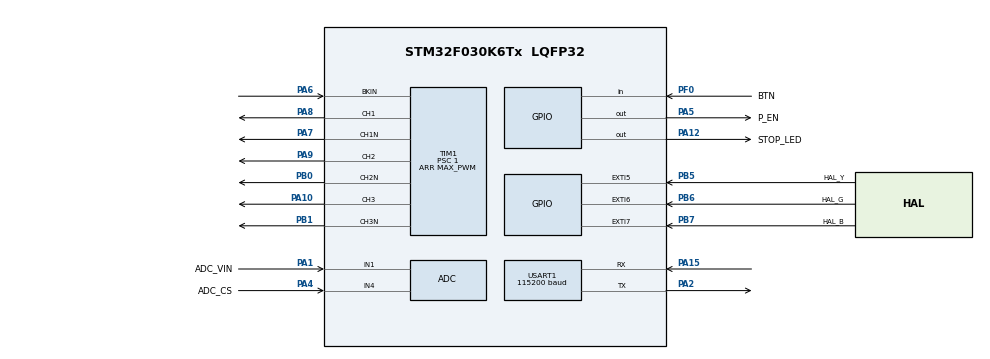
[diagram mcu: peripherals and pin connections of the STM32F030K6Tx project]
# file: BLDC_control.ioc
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ADC.ContinuousConvMode=ENABLE
ADC.DMAContinuousRequests=ENABLE
ADC.DiscontinuousConvMode=DISABLE
ADC.EOCSelection=ADC_EOC_SEQ_CONV
ADC.ExternalTrigConv=ADC_EXTERNALTRIGCONV_T1_TRGO
ADC.ExternalTrigConvEdge=ADC_EXTERNALTRIGCONVEDGE_RISINGFALLING
ADC.SamplingTime=ADC_SAMPLETIME_41CYCLES_5
Dma.ADC.0.Direction=DMA_PERIPH_TO_MEMORY
Dma.ADC.0.Instance=DMA1_Channel1
Dma.ADC.0.MemDataAlignment=DMA_MDATAALIGN_HALFWORD
Dma.ADC.0.MemInc=DMA_MINC_ENABLE
Dma.ADC.0.Mode=DMA_CIRCULAR
Dma.ADC.0.PeriphDataAlignment=DMA_PDATAALIGN_HALFWORD
Dma.ADC.0.PeriphInc=DMA_PINC_DISABLE
Dma.ADC.0.Priority=DMA_PRIORITY_LOW
Dma.Request0=ADC
Dma.Request1=USART1_TX
Dma.USART1_TX.1.Direction=DMA_MEMORY_TO_PERIPH
Dma.USART1_TX.1.Instance=DMA1_Channel2
Dma.USART1_TX.1.MemDataAlignment=DMA_MDATAALIGN_BYTE
Dma.USART1_TX.1.MemInc=DMA_MINC_ENABLE
Dma.USART1_TX.1.Mode=DMA_NORMAL
Dma.USART1_TX.1.PeriphDataAlignment=DMA_PDATAALIGN_BYTE
Dma.USART1_TX.1.PeriphInc=DMA_PINC_DISABLE
Dma.USART1_TX.1.Priority=DMA_PRIORITY_LOW
Mcu.Family=STM32F0
Mcu.Name=STM32F030K6Tx
Mcu.Package=LQFP32
Mcu.UserConstants=MAX_PWM,512
NVIC.DMA1_Channel1_IRQn=true\:0\:0\:false\:false\:true\:false\:true\:true
NVIC.DMA1_Channel2_3_IRQn=true\:0\:0\:false\:false\:true\:false\:true\:true
NVIC.EXTI4_15_IRQn=true\:0\:0\:false\:false\:true\:true\:true\:true
NVIC.TIM1_BRK_UP_TRG_COM_IRQn=true\:0\:0\:false\:false\:true\:true\:true\:true
NVIC.TIM1_CC_IRQn=true\:0\:0\:false\:false\:true\:true\:true\:true
NVIC.USART1_IRQn=true\:1\:0\:true\:false\:true\:true\:true\:true
PA1.GPIO_Label=ADC_VIN
PA1.Mode=IN1
PA1.Signal=ADC_IN1
PA10.Signal=S_TIM1_CH3
PA12.GPIO_Label=STOP_LED
PA12.Signal=GPIO_Output
PA13.Mode=Serial_Wire
PA13.Signal=SYS_SWDIO
PA14.Mode=Serial_Wire
PA14.Signal=SYS_SWCLK
PA15.Mode=Asynchronous
PA15.Signal=USART1_RX
PA2.Mode=Asynchronous
PA2.Signal=USART1_TX
PA4.GPIO_Label=ADC_CS
PA4.Mode=IN4
PA4.Signal=ADC_IN4
PA5.GPIO_Label=P_EN
PA5.Signal=GPIO_Output
PA6.Mode=Activate-Break-Input
PA6.Signal=TIM1_BKIN
PA7.Mode=PWM Generation1 CH1 CH1N
PA7.Signal=TIM1_CH1N
PA8.Signal=S_TIM1_CH1
PA9.Signal=S_TIM1_CH2
PB0.Mode=PWM Generation2 CH2 CH2N
PB0.Signal=TIM1_CH2N
PB1.Mode=PWM Generation3 CH3 CH3N
PB1.Signal=TIM1_CH3N
PB5.GPIO_Label=HAL_Y
PB5.GPIO_ModeDefaultEXTI=GPIO_MODE_IT_RISING_FALLING
PB5.Signal=GPXTI5
PB6.GPIO_Label=HAL_G
PB6.GPIO_ModeDefaultEXTI=GPIO_MODE_IT_RISING_FALLING
PB6.Signal=GPXTI6
PB7.GPIO_Label=HAL_B
PB7.GPIO_ModeDefaultEXTI=GPIO_MODE_IT_RISING_FALLING
PB7.Signal=GPXTI7
PF0-OSC_IN.GPIO_Label=BTN
PF0-OSC_IN.Signal=GPIO_Input
ProjectManager.HeapSize=0x200
ProjectManager.StackSize=0x400
ProjectManager.TargetToolchain=MDK-ARM V5.32
RCC.AHBFreq_Value=48000000
RCC.APB1Freq_Value=48000000
RCC.APB1TimFreq_Value=48000000
RCC.HCLKFreq_Value=48000000
RCC.PLLMUL=RCC_PLL_MUL12
RCC.SYSCLKFreq_VALUE=48000000
RCC.SYSCLKSource=RCC_SYSCLKSOURCE_PLLCLK
SH.S_TIM1_CH1.0=TIM1_CH1,PWM Generation1 CH1 CH1N
SH.S_TIM1_CH2.0=TIM1_CH2,PWM Generation2 CH2 CH2N
SH.S_TIM1_CH3.0=TIM1_CH3,PWM Generation3 CH3 CH3N
TIM1.AutomaticOutput=TIM_AUTOMATICOUTPUT_DISABLE
TIM1.BreakPolarity=TIM_BREAKPOLARITY_LOW
TIM1.Channel-Output\ Compare4\ No\ Output=TIM_CHANNEL_4
TIM1.Channel-PWM\ Generation1\ CH1\ CH1N=TIM_CHANNEL_1
TIM1.Channel-PWM\ Generation2\ CH2\ CH2N=TIM_CHANNEL_2
TIM1.Channel-PWM\ Generation3\ CH3\ CH3N=TIM_CHANNEL_3
TIM1.CounterMode=TIM_COUNTERMODE_CENTERALIGNED1
TIM1.DeadTime=0x10
TIM1.OCIdleState_1=TIM_OCIDLESTATE_SET
TIM1.OCIdleState_2=TIM_OCIDLESTATE_SET
TIM1.OCIdleState_3=TIM_OCIDLESTATE_SET
TIM1.OCMode_4=TIM_OCMODE_TOGGLE
TIM1.OCMode_PWM-PWM\ Generation1\ CH1\ CH1N=TIM_OCMODE_PWM1
TIM1.OCMode_PWM-PWM\ Generation2\ CH2\ CH2N=TIM_OCMODE_PWM1
TIM1.OCMode_PWM-PWM\ Generation3\ CH3\ CH3N=TIM_OCMODE_PWM1
TIM1.OCNIdleState_1=TIM_OCNIDLESTATE_SET
TIM1.OCNIdleState_2=TIM_OCNIDLESTATE_SET
TIM1.OCNIdleState_3=TIM_OCNIDLESTATE_SET
TIM1.OCNPolarity_1=TIM_OCNPOLARITY_LOW
TIM1.OCNPolarity_2=TIM_OCNPOLARITY_LOW
TIM1.OCNPolarity_3=TIM_OCNPOLARITY_LOW
TIM1.OCPolarity_1=TIM_OCPOLARITY_LOW
TIM1.OCPolarity_2=TIM_OCPOLARITY_LOW
TIM1.OCPolarity_3=TIM_OCPOLARITY_LOW
TIM1.Period=MAX_PWM
TIM1.Prescaler=1
TIM1.Pulse-Output\ Compare4\ No\ Output=1
TIM1.TIM_MasterOutputTrigger=TIM_TRGO_OC4REF
TIM1.TIM_MasterSlaveMode=TIM_MASTERSLAVEMODE_DISABLE
USART1.BaudRate=115200
USART1.TxPinLevelInvertParam=ADVFEATURE_TXINV_ENABLE
USART1.VirtualMode-Asynchronous=VM_ASYNC
VP_TIM1_VS_ClockSourceINT.Mode=Internal
VP_TIM1_VS_no_output4.Mode=Output Compare4 No Output
board=custom

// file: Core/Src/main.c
/* USER CODE BEGIN Header */
/**
 ******************************************************************************
 * @file           : main.c
 * @brief          : Main program body
 ******************************************************************************
 * @attention
 *
 * Copyright (c) 2024 STMicroelectronics.
 * All rights reserved.
 *
 * This software is licensed under terms that can be found in the LICENSE file
 * in the root directory of this software component.
 * If no LICENSE file comes with this software, it is provided AS-IS.
 *
 ******************************************************************************
 */
/* USER CODE END Header */
#include "main.h"

/* USER CODE BEGIN PV */

// BLDC DATA

/* USER CODE END PV */

void SystemClock_Config(void);
static void MX_GPIO_Init(void);
static void MX_DMA_Init(void);
static void MX_TIM1_Init(void);
static void MX_USART1_UART_Init(void);
static void MX_ADC_Init(void);

int main(void)
{

  /* MCU Configuration--------------------------------------------------------*/

  /* Reset of all peripherals, Initializes the Flash interface and the Systick. */
  LL_APB1_GRP2_EnableClock(LL_APB1_GRP2_PERIPH_SYSCFG);
  LL_APB1_GRP1_EnableClock(LL_APB1_GRP1_PERIPH_PWR);

  /* SysTick_IRQn interrupt configuration */
  NVIC_SetPriority(SysTick_IRQn, 3);

  /* Configure the system clock */
  SystemClock_Config();

  /* USER CODE BEGIN SysInit */
  LL_SYSTICK_EnableIT();
  /* USER CODE END SysInit */

  /* Initialize all configured peripherals */
  MX_GPIO_Init();
  MX_DMA_Init();
  MX_TIM1_Init();
  MX_USART1_UART_Init();
  MX_ADC_Init();
  /* USER CODE BEGIN 2 */

  LL_USART_Enable(USART1);
  LL_USART_EnableIT_RXNE(USART1);
  LL_USART_EnableDMAReq_TX(USART1);

  LL_TIM_EnableIT_CC4(TIM1);

  LL_TIM_EnableAllOutputs(TIM1);
  LL_TIM_EnableCounter(TIM1);

  LL_DMA_ConfigTransfer(DMA1,
                        LL_DMA_CHANNEL_1,
                        LL_DMA_DIRECTION_PERIPH_TO_MEMORY |
                            LL_DMA_MODE_CIRCULAR |
                            LL_DMA_PERIPH_NOINCREMENT |
                            LL_DMA_MEMORY_INCREMENT |
                            LL_DMA_PDATAALIGN_HALFWORD |
                            LL_DMA_MDATAALIGN_HALFWORD |
                            LL_DMA_PRIORITY_HIGH);

  extern uint16_t adc_data[80];
  LL_DMA_ConfigAddresses(DMA1,
                         LL_DMA_CHANNEL_1,
                         LL_ADC_DMA_GetRegAddr(ADC1, LL_ADC_DMA_REG_REGULAR_DATA),
                         (uint32_t)adc_data,
                         LL_DMA_DIRECTION_PERIPH_TO_MEMORY);

  LL_DMA_SetDataLength(DMA1, LL_DMA_CHANNEL_1, sizeof(adc_data) / sizeof(adc_data[0]));
  LL_DMA_EnableChannel(DMA1, LL_DMA_CHANNEL_1);

  LL_ADC_Enable(ADC1);
  LL_ADC_REG_StartConversion(ADC1);

  extern void my_main(void);
  my_main();

  /* USER CODE END 2 */

  /* Infinite loop */
  /* USER CODE BEGIN WHILE */
  while (1)
  {
    // do_break(power);
    /* USER CODE END WHILE */

  }
}

void SystemClock_Config(void)
{
  LL_FLASH_SetLatency(LL_FLASH_LATENCY_1);
  while(LL_FLASH_GetLatency() != LL_FLASH_LATENCY_1)
  {
  }
  LL_RCC_HSI_Enable();

   /* Wait till HSI is ready */
  while(LL_RCC_HSI_IsReady() != 1)
  {

  }
  LL_RCC_HSI_SetCalibTrimming(16);
  LL_RCC_HSI14_Enable();

   /* Wait till HSI14 is ready */
  while(LL_RCC_HSI14_IsReady() != 1)
  {

  }
  LL_RCC_HSI14_SetCalibTrimming(16);
  LL_RCC_PLL_ConfigDomain_SYS(LL_RCC_PLLSOURCE_HSI_DIV_2, LL_RCC_PLL_MUL_12);
  LL_RCC_PLL_Enable();

   /* Wait till PLL is ready */
  while(LL_RCC_PLL_IsReady() != 1)
  {

  }
  LL_RCC_SetAHBPrescaler(LL_RCC_SYSCLK_DIV_1);
  LL_RCC_SetAPB1Prescaler(LL_RCC_APB1_DIV_1);
  LL_RCC_SetSysClkSource(LL_RCC_SYS_CLKSOURCE_PLL);

   /* Wait till System clock is ready */
  while(LL_RCC_GetSysClkSource() != LL_RCC_SYS_CLKSOURCE_STATUS_PLL)
  {

  }
  LL_Init1msTick(48000000);
  LL_SetSystemCoreClock(48000000);
  LL_RCC_HSI14_EnableADCControl();
  LL_RCC_SetUSARTClockSource(LL_RCC_USART1_CLKSOURCE_PCLK1);
}

static void MX_ADC_Init(void)
{

  LL_ADC_InitTypeDef ADC_InitStruct = {0};
  LL_ADC_REG_InitTypeDef ADC_REG_InitStruct = {0};

  LL_GPIO_InitTypeDef GPIO_InitStruct = {0};

  /* Peripheral clock enable */
  LL_APB1_GRP2_EnableClock(LL_APB1_GRP2_PERIPH_ADC1);

  LL_AHB1_GRP1_EnableClock(LL_AHB1_GRP1_PERIPH_GPIOA);
  /**ADC GPIO Configuration
  PA1   ------> ADC_IN1
  PA4   ------> ADC_IN4
  */
  GPIO_InitStruct.Pin = ADC_VIN_Pin;
  GPIO_InitStruct.Mode = LL_GPIO_MODE_ANALOG;
  GPIO_InitStruct.Pull = LL_GPIO_PULL_NO;
  LL_GPIO_Init(ADC_VIN_GPIO_Port, &GPIO_InitStruct);

  GPIO_InitStruct.Pin = ADC_CS_Pin;
  GPIO_InitStruct.Mode = LL_GPIO_MODE_ANALOG;
  GPIO_InitStruct.Pull = LL_GPIO_PULL_NO;
  LL_GPIO_Init(ADC_CS_GPIO_Port, &GPIO_InitStruct);

  /* ADC DMA Init */

  /* ADC Init */
  LL_DMA_SetDataTransferDirection(DMA1, LL_DMA_CHANNEL_1, LL_DMA_DIRECTION_PERIPH_TO_MEMORY);

  LL_DMA_SetChannelPriorityLevel(DMA1, LL_DMA_CHANNEL_1, LL_DMA_PRIORITY_LOW);

  LL_DMA_SetMode(DMA1, LL_DMA_CHANNEL_1, LL_DMA_MODE_CIRCULAR);

  LL_DMA_SetPeriphIncMode(DMA1, LL_DMA_CHANNEL_1, LL_DMA_PERIPH_NOINCREMENT);

  LL_DMA_SetMemoryIncMode(DMA1, LL_DMA_CHANNEL_1, LL_DMA_MEMORY_INCREMENT);

  LL_DMA_SetPeriphSize(DMA1, LL_DMA_CHANNEL_1, LL_DMA_PDATAALIGN_HALFWORD);

  LL_DMA_SetMemorySize(DMA1, LL_DMA_CHANNEL_1, LL_DMA_MDATAALIGN_HALFWORD);

  /** Configure Regular Channel
  */
  LL_ADC_REG_SetSequencerChAdd(ADC1, LL_ADC_CHANNEL_1);

  /** Configure Regular Channel
  */
  LL_ADC_REG_SetSequencerChAdd(ADC1, LL_ADC_CHANNEL_4);

  /** Configure the global features of the ADC (Clock, Resolution, Data Alignment and number of conversion)
  */
  ADC_InitStruct.Clock = LL_ADC_CLOCK_ASYNC;
  ADC_InitStruct.Resolution = LL_ADC_RESOLUTION_12B;
  ADC_InitStruct.DataAlignment = LL_ADC_DATA_ALIGN_RIGHT;
  ADC_InitStruct.LowPowerMode = LL_ADC_LP_MODE_NONE;
  LL_ADC_Init(ADC1, &ADC_InitStruct);
  ADC_REG_InitStruct.TriggerSource = LL_ADC_REG_TRIG_EXT_TIM1_TRGO;
  ADC_REG_InitStruct.SequencerDiscont = LL_ADC_REG_SEQ_DISCONT_DISABLE;
  ADC_REG_InitStruct.ContinuousMode = LL_ADC_REG_CONV_CONTINUOUS;
  ADC_REG_InitStruct.DMATransfer = LL_ADC_REG_DMA_TRANSFER_UNLIMITED;
  ADC_REG_InitStruct.Overrun = LL_ADC_REG_OVR_DATA_PRESERVED;
  LL_ADC_REG_Init(ADC1, &ADC_REG_InitStruct);
  LL_ADC_REG_SetSequencerScanDirection(ADC1, LL_ADC_REG_SEQ_SCAN_DIR_FORWARD);
  LL_ADC_SetSamplingTimeCommonChannels(ADC1, LL_ADC_SAMPLINGTIME_41CYCLES_5);
  LL_ADC_REG_SetTriggerEdge(ADC1, LL_ADC_REG_TRIG_EXT_RISINGFALLING);

}

static void MX_TIM1_Init(void)
{

  LL_TIM_InitTypeDef TIM_InitStruct = {0};
  LL_TIM_OC_InitTypeDef TIM_OC_InitStruct = {0};
  LL_TIM_BDTR_InitTypeDef TIM_BDTRInitStruct = {0};

  LL_GPIO_InitTypeDef GPIO_InitStruct = {0};

  /* Peripheral clock enable */
  LL_APB1_GRP2_EnableClock(LL_APB1_GRP2_PERIPH_TIM1);

  LL_AHB1_GRP1_EnableClock(LL_AHB1_GRP1_PERIPH_GPIOA);
  /**TIM1 GPIO Configuration
  PA6   ------> TIM1_BKIN
  */
  GPIO_InitStruct.Pin = LL_GPIO_PIN_6;
  GPIO_InitStruct.Mode = LL_GPIO_MODE_ALTERNATE;
  GPIO_InitStruct.Speed = LL_GPIO_SPEED_FREQ_LOW;
  GPIO_InitStruct.OutputType = LL_GPIO_OUTPUT_PUSHPULL;
  GPIO_InitStruct.Pull = LL_GPIO_PULL_NO;
  GPIO_InitStruct.Alternate = LL_GPIO_AF_2;
  LL_GPIO_Init(GPIOA, &GPIO_InitStruct);

  /* TIM1 interrupt Init */
  NVIC_SetPriority(TIM1_BRK_UP_TRG_COM_IRQn, 0);
  NVIC_EnableIRQ(TIM1_BRK_UP_TRG_COM_IRQn);
  NVIC_SetPriority(TIM1_CC_IRQn, 0);
  NVIC_EnableIRQ(TIM1_CC_IRQn);

  TIM_InitStruct.Prescaler = 1;
  TIM_InitStruct.CounterMode = LL_TIM_COUNTERMODE_CENTER_DOWN;
  TIM_InitStruct.Autoreload = MAX_PWM;
  TIM_InitStruct.ClockDivision = LL_TIM_CLOCKDIVISION_DIV1;
  TIM_InitStruct.RepetitionCounter = 0;
  LL_TIM_Init(TIM1, &TIM_InitStruct);
  LL_TIM_DisableARRPreload(TIM1);
  LL_TIM_SetClockSource(TIM1, LL_TIM_CLOCKSOURCE_INTERNAL);
  LL_TIM_OC_EnablePreload(TIM1, LL_TIM_CHANNEL_CH1);
  TIM_OC_InitStruct.OCMode = LL_TIM_OCMODE_PWM1;
  TIM_OC_InitStruct.OCState = LL_TIM_OCSTATE_DISABLE;
  TIM_OC_InitStruct.OCNState = LL_TIM_OCSTATE_DISABLE;
  TIM_OC_InitStruct.CompareValue = 0;
  TIM_OC_InitStruct.OCPolarity = LL_TIM_OCPOLARITY_LOW;
  TIM_OC_InitStruct.OCNPolarity = LL_TIM_OCPOLARITY_LOW;
  TIM_OC_InitStruct.OCIdleState = LL_TIM_OCIDLESTATE_HIGH;
  TIM_OC_InitStruct.OCNIdleState = LL_TIM_OCIDLESTATE_HIGH;
  LL_TIM_OC_Init(TIM1, LL_TIM_CHANNEL_CH1, &TIM_OC_InitStruct);
  LL_TIM_OC_DisableFast(TIM1, LL_TIM_CHANNEL_CH1);
  LL_TIM_OC_EnablePreload(TIM1, LL_TIM_CHANNEL_CH2);
  LL_TIM_OC_Init(TIM1, LL_TIM_CHANNEL_CH2, &TIM_OC_InitStruct);
  LL_TIM_OC_DisableFast(TIM1, LL_TIM_CHANNEL_CH2);
  LL_TIM_OC_EnablePreload(TIM1, LL_TIM_CHANNEL_CH3);
  LL_TIM_OC_Init(TIM1, LL_TIM_CHANNEL_CH3, &TIM_OC_InitStruct);
  LL_TIM_OC_DisableFast(TIM1, LL_TIM_CHANNEL_CH3);
  TIM_OC_InitStruct.OCMode = LL_TIM_OCMODE_TOGGLE;
  TIM_OC_InitStruct.CompareValue = 1;
  TIM_OC_InitStruct.OCPolarity = LL_TIM_OCPOLARITY_HIGH;
  TIM_OC_InitStruct.OCIdleState = LL_TIM_OCIDLESTATE_LOW;
  TIM_OC_InitStruct.OCNIdleState = LL_TIM_OCIDLESTATE_LOW;
  LL_TIM_OC_Init(TIM1, LL_TIM_CHANNEL_CH4, &TIM_OC_InitStruct);
  LL_TIM_OC_DisableFast(TIM1, LL_TIM_CHANNEL_CH4);
  LL_TIM_SetTriggerOutput(TIM1, LL_TIM_TRGO_OC4REF);
  LL_TIM_DisableMasterSlaveMode(TIM1);
  TIM_BDTRInitStruct.OSSRState = LL_TIM_OSSR_DISABLE;
  TIM_BDTRInitStruct.OSSIState = LL_TIM_OSSI_DISABLE;
  TIM_BDTRInitStruct.LockLevel = LL_TIM_LOCKLEVEL_OFF;
  TIM_BDTRInitStruct.DeadTime = 0x10;
  TIM_BDTRInitStruct.BreakState = LL_TIM_BREAK_ENABLE;
  TIM_BDTRInitStruct.BreakPolarity = LL_TIM_BREAK_POLARITY_LOW;
  TIM_BDTRInitStruct.AutomaticOutput = LL_TIM_AUTOMATICOUTPUT_DISABLE;
  LL_TIM_BDTR_Init(TIM1, &TIM_BDTRInitStruct);
  LL_AHB1_GRP1_EnableClock(LL_AHB1_GRP1_PERIPH_GPIOA);
  LL_AHB1_GRP1_EnableClock(LL_AHB1_GRP1_PERIPH_GPIOB);
  /**TIM1 GPIO Configuration
  PA7   ------> TIM1_CH1N
  PB0   ------> TIM1_CH2N
  PB1   ------> TIM1_CH3N
  PA8   ------> TIM1_CH1
  PA9   ------> TIM1_CH2
  PA10   ------> TIM1_CH3
  */
  GPIO_InitStruct.Pin = LL_GPIO_PIN_7;
  GPIO_InitStruct.Mode = LL_GPIO_MODE_ALTERNATE;
  GPIO_InitStruct.Speed = LL_GPIO_SPEED_FREQ_LOW;
  GPIO_InitStruct.OutputType = LL_GPIO_OUTPUT_PUSHPULL;
  GPIO_InitStruct.Pull = LL_GPIO_PULL_NO;
  GPIO_InitStruct.Alternate = LL_GPIO_AF_2;
  LL_GPIO_Init(GPIOA, &GPIO_InitStruct);

  GPIO_InitStruct.Pin = LL_GPIO_PIN_0;
  GPIO_InitStruct.Mode = LL_GPIO_MODE_ALTERNATE;
  GPIO_InitStruct.Speed = LL_GPIO_SPEED_FREQ_LOW;
  GPIO_InitStruct.OutputType = LL_GPIO_OUTPUT_PUSHPULL;
  GPIO_InitStruct.Pull = LL_GPIO_PULL_NO;
  GPIO_InitStruct.Alternate = LL_GPIO_AF_2;
  LL_GPIO_Init(GPIOB, &GPIO_InitStruct);

  GPIO_InitStruct.Pin = LL_GPIO_PIN_1;
  GPIO_InitStruct.Mode = LL_GPIO_MODE_ALTERNATE;
  GPIO_InitStruct.Speed = LL_GPIO_SPEED_FREQ_LOW;
  GPIO_InitStruct.OutputType = LL_GPIO_OUTPUT_PUSHPULL;
  GPIO_InitStruct.Pull = LL_GPIO_PULL_NO;
  GPIO_InitStruct.Alternate = LL_GPIO_AF_2;
  LL_GPIO_Init(GPIOB, &GPIO_InitStruct);

  GPIO_InitStruct.Pin = LL_GPIO_PIN_8;
  GPIO_InitStruct.Mode = LL_GPIO_MODE_ALTERNATE;
  GPIO_InitStruct.Speed = LL_GPIO_SPEED_FREQ_LOW;
  GPIO_InitStruct.OutputType = LL_GPIO_OUTPUT_PUSHPULL;
  GPIO_InitStruct.Pull = LL_GPIO_PULL_NO;
  GPIO_InitStruct.Alternate = LL_GPIO_AF_2;
  LL_GPIO_Init(GPIOA, &GPIO_InitStruct);

  GPIO_InitStruct.Pin = LL_GPIO_PIN_9;
  GPIO_InitStruct.Mode = LL_GPIO_MODE_ALTERNATE;
  GPIO_InitStruct.Speed = LL_GPIO_SPEED_FREQ_LOW;
  GPIO_InitStruct.OutputType = LL_GPIO_OUTPUT_PUSHPULL;
  GPIO_InitStruct.Pull = LL_GPIO_PULL_NO;
  GPIO_InitStruct.Alternate = LL_GPIO_AF_2;
  LL_GPIO_Init(GPIOA, &GPIO_InitStruct);

  GPIO_InitStruct.Pin = LL_GPIO_PIN_10;
  GPIO_InitStruct.Mode = LL_GPIO_MODE_ALTERNATE;
  GPIO_InitStruct.Speed = LL_GPIO_SPEED_FREQ_LOW;
  GPIO_InitStruct.OutputType = LL_GPIO_OUTPUT_PUSHPULL;
  GPIO_InitStruct.Pull = LL_GPIO_PULL_NO;
  GPIO_InitStruct.Alternate = LL_GPIO_AF_2;
  LL_GPIO_Init(GPIOA, &GPIO_InitStruct);

}

static void MX_USART1_UART_Init(void)
{

  LL_USART_InitTypeDef USART_InitStruct = {0};

  LL_GPIO_InitTypeDef GPIO_InitStruct = {0};

  /* Peripheral clock enable */
  LL_APB1_GRP2_EnableClock(LL_APB1_GRP2_PERIPH_USART1);

  LL_AHB1_GRP1_EnableClock(LL_AHB1_GRP1_PERIPH_GPIOA);
  /**USART1 GPIO Configuration
  PA2   ------> USART1_TX
  PA15   ------> USART1_RX
  */
  GPIO_InitStruct.Pin = LL_GPIO_PIN_2;
  GPIO_InitStruct.Mode = LL_GPIO_MODE_ALTERNATE;
  GPIO_InitStruct.Speed = LL_GPIO_SPEED_FREQ_HIGH;
  GPIO_InitStruct.OutputType = LL_GPIO_OUTPUT_PUSHPULL;
  GPIO_InitStruct.Pull = LL_GPIO_PULL_NO;
  GPIO_InitStruct.Alternate = LL_GPIO_AF_1;
  LL_GPIO_Init(GPIOA, &GPIO_InitStruct);

  GPIO_InitStruct.Pin = LL_GPIO_PIN_15;
  GPIO_InitStruct.Mode = LL_GPIO_MODE_ALTERNATE;
  GPIO_InitStruct.Speed = LL_GPIO_SPEED_FREQ_HIGH;
  GPIO_InitStruct.OutputType = LL_GPIO_OUTPUT_PUSHPULL;
  GPIO_InitStruct.Pull = LL_GPIO_PULL_NO;
  GPIO_InitStruct.Alternate = LL_GPIO_AF_1;
  LL_GPIO_Init(GPIOA, &GPIO_InitStruct);

  /* USART1 DMA Init */

  /* USART1_TX Init */
  LL_DMA_SetDataTransferDirection(DMA1, LL_DMA_CHANNEL_2, LL_DMA_DIRECTION_MEMORY_TO_PERIPH);

  LL_DMA_SetChannelPriorityLevel(DMA1, LL_DMA_CHANNEL_2, LL_DMA_PRIORITY_LOW);

  LL_DMA_SetMode(DMA1, LL_DMA_CHANNEL_2, LL_DMA_MODE_NORMAL);

  LL_DMA_SetPeriphIncMode(DMA1, LL_DMA_CHANNEL_2, LL_DMA_PERIPH_NOINCREMENT);

  LL_DMA_SetMemoryIncMode(DMA1, LL_DMA_CHANNEL_2, LL_DMA_MEMORY_INCREMENT);

  LL_DMA_SetPeriphSize(DMA1, LL_DMA_CHANNEL_2, LL_DMA_PDATAALIGN_BYTE);

  LL_DMA_SetMemorySize(DMA1, LL_DMA_CHANNEL_2, LL_DMA_MDATAALIGN_BYTE);

  /* USART1 interrupt Init */
  NVIC_SetPriority(USART1_IRQn, 1);
  NVIC_EnableIRQ(USART1_IRQn);

  USART_InitStruct.BaudRate = 115200;
  USART_InitStruct.DataWidth = LL_USART_DATAWIDTH_8B;
  USART_InitStruct.StopBits = LL_USART_STOPBITS_1;
  USART_InitStruct.Parity = LL_USART_PARITY_NONE;
  USART_InitStruct.TransferDirection = LL_USART_DIRECTION_TX_RX;
  USART_InitStruct.HardwareFlowControl = LL_USART_HWCONTROL_NONE;
  USART_InitStruct.OverSampling = LL_USART_OVERSAMPLING_16;
  LL_USART_Init(USART1, &USART_InitStruct);
  LL_USART_DisableIT_CTS(USART1);
  LL_USART_SetTXPinLevel(USART1, LL_USART_TXPIN_LEVEL_INVERTED);
  LL_USART_ConfigAsyncMode(USART1);
  LL_USART_Enable(USART1);

}

static void MX_DMA_Init(void)
{

  /* Init with LL driver */
  /* DMA controller clock enable */
  LL_AHB1_GRP1_EnableClock(LL_AHB1_GRP1_PERIPH_DMA1);

  /* DMA interrupt init */
  /* DMA1_Channel1_IRQn interrupt configuration */
  NVIC_SetPriority(DMA1_Channel1_IRQn, 0);
  NVIC_EnableIRQ(DMA1_Channel1_IRQn);
  /* DMA1_Channel2_3_IRQn interrupt configuration */
  NVIC_SetPriority(DMA1_Channel2_3_IRQn, 0);
  NVIC_EnableIRQ(DMA1_Channel2_3_IRQn);

}

static void MX_GPIO_Init(void)
{
  LL_EXTI_InitTypeDef EXTI_InitStruct = {0};
  LL_GPIO_InitTypeDef GPIO_InitStruct = {0};

  /* GPIO Ports Clock Enable */
  LL_AHB1_GRP1_EnableClock(LL_AHB1_GRP1_PERIPH_GPIOF);
  LL_AHB1_GRP1_EnableClock(LL_AHB1_GRP1_PERIPH_GPIOA);
  LL_AHB1_GRP1_EnableClock(LL_AHB1_GRP1_PERIPH_GPIOB);

  /**/
  LL_GPIO_ResetOutputPin(P_EN_GPIO_Port, P_EN_Pin);

  /**/
  LL_GPIO_ResetOutputPin(STOP_LED_GPIO_Port, STOP_LED_Pin);

  /**/
  GPIO_InitStruct.Pin = BTN_Pin;
  GPIO_InitStruct.Mode = LL_GPIO_MODE_INPUT;
  GPIO_InitStruct.Pull = LL_GPIO_PULL_NO;
  LL_GPIO_Init(BTN_GPIO_Port, &GPIO_InitStruct);

  /**/
  GPIO_InitStruct.Pin = P_EN_Pin;
  GPIO_InitStruct.Mode = LL_GPIO_MODE_OUTPUT;
  GPIO_InitStruct.Speed = LL_GPIO_SPEED_FREQ_LOW;
  GPIO_InitStruct.OutputType = LL_GPIO_OUTPUT_PUSHPULL;
  GPIO_InitStruct.Pull = LL_GPIO_PULL_NO;
  LL_GPIO_Init(P_EN_GPIO_Port, &GPIO_InitStruct);

  /**/
  GPIO_InitStruct.Pin = STOP_LED_Pin;
  GPIO_InitStruct.Mode = LL_GPIO_MODE_OUTPUT;
  GPIO_InitStruct.Speed = LL_GPIO_SPEED_FREQ_LOW;
  GPIO_InitStruct.OutputType = LL_GPIO_OUTPUT_PUSHPULL;
  GPIO_InitStruct.Pull = LL_GPIO_PULL_NO;
  LL_GPIO_Init(STOP_LED_GPIO_Port, &GPIO_InitStruct);

  /**/
  LL_SYSCFG_SetEXTISource(LL_SYSCFG_EXTI_PORTB, LL_SYSCFG_EXTI_LINE5);

  /**/
  LL_SYSCFG_SetEXTISource(LL_SYSCFG_EXTI_PORTB, LL_SYSCFG_EXTI_LINE6);

  /**/
  LL_SYSCFG_SetEXTISource(LL_SYSCFG_EXTI_PORTB, LL_SYSCFG_EXTI_LINE7);

  /**/
  LL_GPIO_SetPinPull(HAL_Y_GPIO_Port, HAL_Y_Pin, LL_GPIO_PULL_NO);

  /**/
  LL_GPIO_SetPinPull(HAL_G_GPIO_Port, HAL_G_Pin, LL_GPIO_PULL_NO);

  /**/
  LL_GPIO_SetPinPull(HAL_B_GPIO_Port, HAL_B_Pin, LL_GPIO_PULL_NO);

  /**/
  LL_GPIO_SetPinMode(HAL_Y_GPIO_Port, HAL_Y_Pin, LL_GPIO_MODE_INPUT);

  /**/
  LL_GPIO_SetPinMode(HAL_G_GPIO_Port, HAL_G_Pin, LL_GPIO_MODE_INPUT);

  /**/
  LL_GPIO_SetPinMode(HAL_B_GPIO_Port, HAL_B_Pin, LL_GPIO_MODE_INPUT);

  /**/
  EXTI_InitStruct.Line_0_31 = LL_EXTI_LINE_5;
  EXTI_InitStruct.LineCommand = ENABLE;
  EXTI_InitStruct.Mode = LL_EXTI_MODE_IT;
  EXTI_InitStruct.Trigger = LL_EXTI_TRIGGER_RISING_FALLING;
  LL_EXTI_Init(&EXTI_InitStruct);

  /**/
  EXTI_InitStruct.Line_0_31 = LL_EXTI_LINE_6;
  EXTI_InitStruct.LineCommand = ENABLE;
  EXTI_InitStruct.Mode = LL_EXTI_MODE_IT;
  EXTI_InitStruct.Trigger = LL_EXTI_TRIGGER_RISING_FALLING;
  LL_EXTI_Init(&EXTI_InitStruct);

  /**/
  EXTI_InitStruct.Line_0_31 = LL_EXTI_LINE_7;
  EXTI_InitStruct.LineCommand = ENABLE;
  EXTI_InitStruct.Mode = LL_EXTI_MODE_IT;
  EXTI_InitStruct.Trigger = LL_EXTI_TRIGGER_RISING_FALLING;
  LL_EXTI_Init(&EXTI_InitStruct);

  /* EXTI interrupt init*/
  NVIC_SetPriority(EXTI4_15_IRQn, 0);
  NVIC_EnableIRQ(EXTI4_15_IRQn);

}

void Error_Handler(void)
{
  __disable_irq();
  while (1)
  {
  }
}
